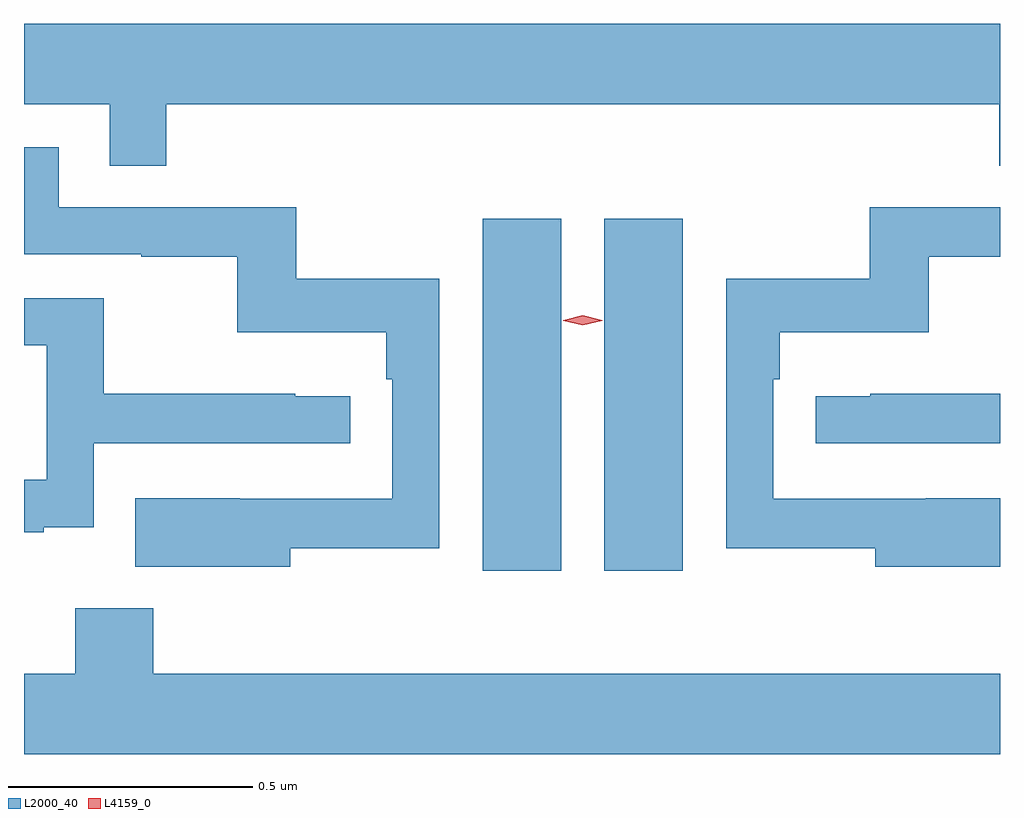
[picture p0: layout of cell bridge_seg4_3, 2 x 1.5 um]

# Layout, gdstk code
import gdstk
lib = gdstk.Library(unit=1e-6, precision=1e-09)
def R(c, l, rs):  # rectangles x0, y0, x1, y1
    for r in rs: c.add(gdstk.rectangle(r[:2], r[2:], *l))
def P(c, l, *ps):  # polygons
    for p in ps: c.add(gdstk.Polygon(p, *l))
L2000_40 = (2000, 40)
L4159_0 = (4159, 0)

bridge_seg4_3 = lib.new_cell('bridge_seg4_3')
R(bridge_seg4_3, L2000_40, [(984.953,787.872,985.114,788.593), (985.202,787.872,985.363,788.593)])
P(bridge_seg4_3, L2000_40, [(984.305,788.828),(986.011,788.828),(986.011,788.701),(986.013,788.701),(986.013,788.992),(984.013,788.992),(984.013,788.828),(984.189,788.828),(984.189,788.701),(984.305,788.701)],
  [(984.559,787.918),(984.864,787.918),(984.864,788.47),(984.571,788.47),(984.571,788.616),(984.084,788.616),(984.084,788.739),(984.013,788.739),(984.013,788.52),(984.253,788.52),(984.253,788.515),(984.45,788.515),(984.45,788.36),(984.755,788.36),(984.755,788.264),(984.768,788.264),(984.768,788.019),(984.455,788.019),(984.455,788.02),(984.241,788.02),(984.241,787.88),(984.559,787.88)],
  [(986.013,788.02),(985.861,788.02),(985.861,788.019),(985.548,788.019),(985.548,788.264),(985.562,788.264),(985.562,788.36),(985.867,788.36),(985.867,788.515),(986.013,788.515),(986.013,788.616),(985.746,788.616),(985.746,788.47),(985.452,788.47),(985.452,787.918),(985.757,787.918),(985.757,787.88),(986.013,787.88)],
  [(984.053,787.961),(984.156,787.961),(984.156,788.133),(984.682,788.133),(984.682,788.229),(984.569,788.229),(984.569,788.234),(984.176,788.234),(984.176,788.43),(984.013,788.43),(984.013,788.334),(984.06,788.334),(984.06,788.058),(984.013,788.058),(984.013,787.95),(984.053,787.95)],
  [(986.013,788.234),(985.747,788.234),(985.747,788.229),(985.635,788.229),(985.635,788.133),(986.013,788.133)],
  [(986.013,787.66),(984.278,787.66),(984.278,787.795),(984.118,787.795),(984.118,787.66),(984.013,787.66),(984.013,787.496),(986.013,787.496)])
P(bridge_seg4_3, L4159_0, [(985.158,788.375),(985.118,788.384),(985.118,788.385),(985.118,788.385),(985.158,788.395),(985.198,788.385),(985.198,788.385),(985.198,788.384)])

lib.write_gds('bridge_seg4_3.gds')
